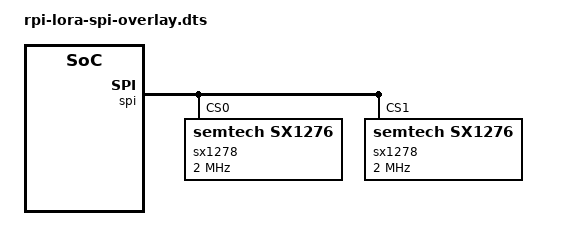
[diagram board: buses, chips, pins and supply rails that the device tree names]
/dts-v1/;
/plugin/;

/ {
	fragment@0 {
		target = <&spi>;
		__overlay__ {
			#address-cells = <1>;
			#size-cells = <0>;

			spidev@0 {
				status = "disabled";
			};

			spidev@1 {
				status = "disabled";
			};
			
			sx1278@0 {
				compatible = "semtech,sx1276";
				reg = <0>;
				status = "okay";
				spi-max-frequency = <2000000>;
				clock-frequency = <32000000>;
				center-carrier-frq = <869525000>;
				rf-bandwidth = <250000>;
				spreading-factor = <7>;
				minimal-RF-channel = /bits/ 8 <11>;
				maximum-RF-channel = /bits/ 8 <11>;
			};

			sx1278@1 {
				compatible = "semtech,sx1276";
				reg = <1>;
				status = "okay";
				spi-max-frequency = <2000000>;
				clock-frequency = <32000000>;
				center-carrier-frq = <869525000>;
				rf-bandwidth = <250000>;
				spreading-factor = <7>;
				minimal-RF-channel = /bits/ 8 <11>;
				maximum-RF-channel = /bits/ 8 <11>;
			};
		};
	};
};
